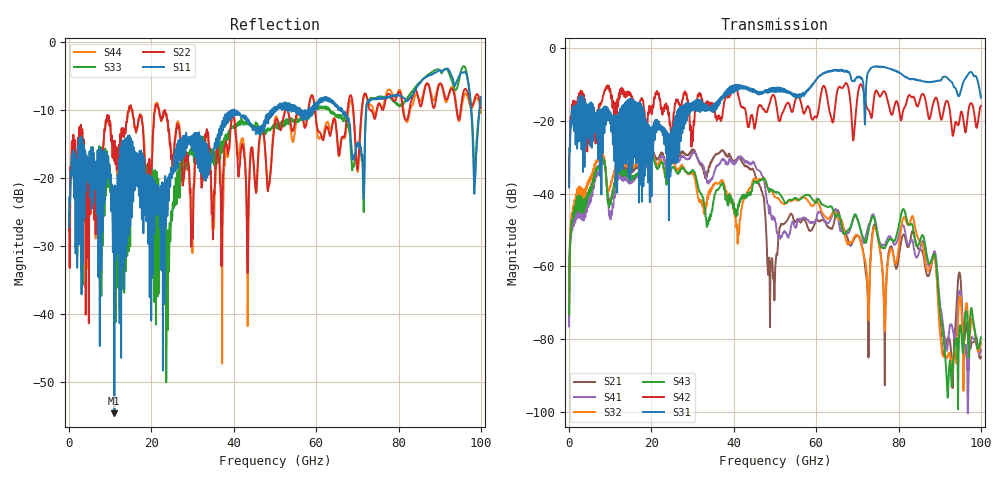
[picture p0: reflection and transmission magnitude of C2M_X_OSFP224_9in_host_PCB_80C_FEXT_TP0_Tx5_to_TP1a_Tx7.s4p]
# GHz S RI R 45
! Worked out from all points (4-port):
!   4000 points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, 25 MHz to 100 GHz, reference 45 ohm
!   strongest paths, dB at 25 MHz, 25.02 GHz, 50.02 GHz, 75.03 GHz, 100 GHz:
!     S31: -38.3, -25.0, -11.0, -5.2, -13.7
!     S42: -38.0, -22.6, -13.7, -12.5, -15.9
!     S43: -73.2, -32.9, -39.7, -52.1, -79.5
!     S32: -70.9, -31.2, -40.9, -52.4, -80.8
!     S41: -76.5, -30.5, -47.5, -51.5, -82.9
!     S21: -73.4, -28.7, -61.6, -51.8, -84.8
!   lowest |S11| = -54.7 dB at 11 GHz (marker M1), VSWR 1.00, Z = 44.9 - j0.131 ohm
!   |S11| at or under -10 dB: start of sweep to 39.75 GHz; 40.18 GHz to 49.23 GHz (9.046 GHz wide, 20.2 % of centre); 66.39 GHz to 72.15 GHz (5.762 GHz wide, 8.32 % of centre) (the widest 3 of 23)
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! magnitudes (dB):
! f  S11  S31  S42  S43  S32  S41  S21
! 25 MHz  -27.2  -38.3  -38.0  -73.2  -70.9  -76.5  -73.4
! 11 GHz  -54.7  -31.0  -16.3  -37.6  -33.8  -40.6  -37.2
! 37.35 GHz  -12.9  -13.5  -17.2  -37.6  -36.6  -30.6  -28.1
! 48.6 GHz  -10.7  -11.2  -15.6  -39.6  -39.4  -45.3  -57.6
! 76.65 GHz  -8.3  -5.2  -12.0  -55.0  -77.1  -54.1  -87.8
! 81.2 GHz  -8.1  -7.6  -17.0  -44.3  -46.6  -48.8  -51.2
! 100 GHz  -8.1  -13.7  -15.9  -79.5  -80.8  -82.9  -84.8
